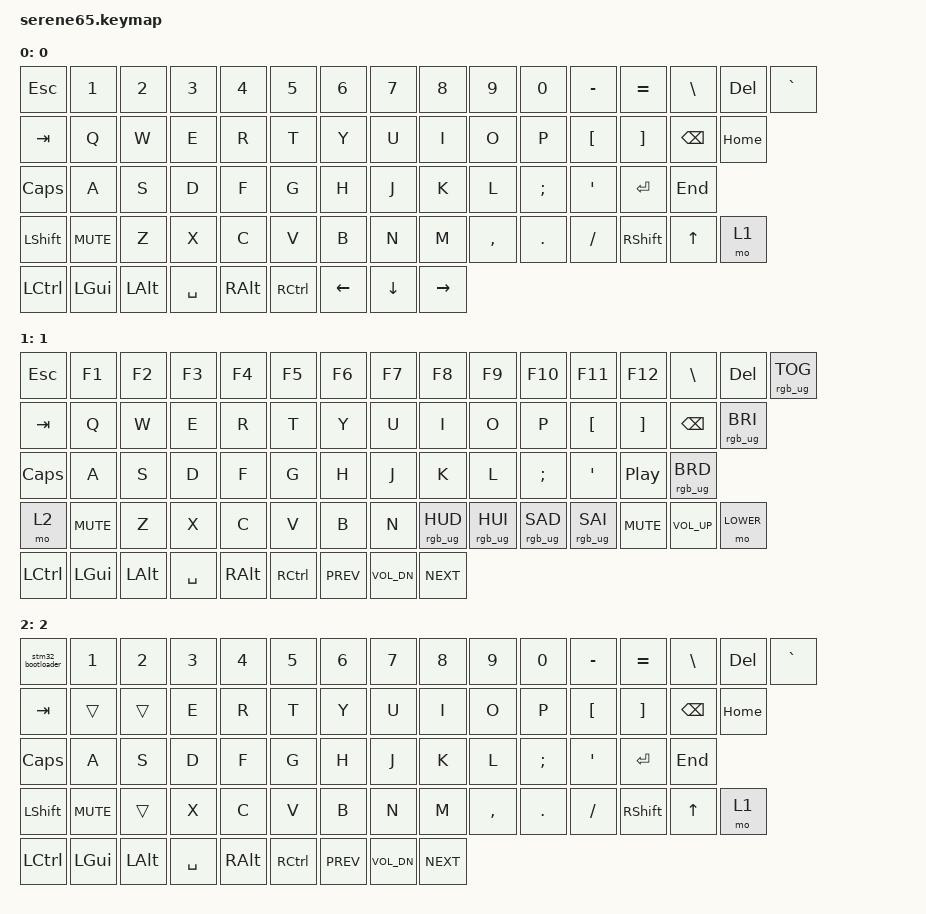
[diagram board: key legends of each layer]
/*
 * Copyright (c) 2020 The ZMK Contributors
 *
 * SPDX-License-Identifier: MIT
 */

#include <behaviors.dtsi>
#include <dt-bindings/zmk/keys.h>
#include <dt-bindings/zmk/rgb.h>

// Define a custom behavior for entering the STM32 bootloader
/ {
    behaviors {
        stm32_bootloader: stm32_bootloader {
            compatible = "zmk,behavior-reset";
            label = "STM32_BOOTLOADER";
            #binding-cells = <0>;
            type = <1>;  // 1 = RESET_BOOTLOADER
        };
    };
};

#define DEFAULT 0
#define LOWER   1
#define RAISE   2

/*&encoder {
    status = "okay";
};*/

/ {
    keymap {
        compatible = "zmk,keymap";

        0 {
            bindings = <
                &kp ESC   &kp N1      &kp N2  &kp N3    &kp N4   &kp N5    &kp N6   &kp N7   &kp N8    &kp N9    &kp N0   &kp MINUS  &kp EQUAL  &kp BSLH  &kp DEL    &kp GRAVE
                &kp TAB   &kp Q       &kp W   &kp E     &kp R    &kp T     &kp Y    &kp U    &kp I     &kp O     &kp P    &kp LBKT   &kp RBKT   &kp BSPC  &kp HOME
                &kp CAPS  &kp A       &kp S   &kp D     &kp F    &kp G     &kp H    &kp J    &kp K     &kp L     &kp SEMI &kp SQT    &kp ENTER  &kp END  
                &kp LSHFT &kp K_MUTE  &kp Z   &kp X     &kp C    &kp V     &kp B    &kp N    &kp M     &kp COMMA &kp DOT  &kp SLASH  &kp RSHFT  &kp UP    &mo 1     
                &kp LCTL  &kp LGUI   &kp LALT &kp SPACE &kp RALT &kp RCTRL &kp LEFT &kp DOWN &kp RIGHT   
            >;
            /*sensor-bindings = <&inc_dec_kp C_VOL_DN C_VOL_UP>;*/
        };

        1 {
            bindings = <
                &kp ESC   &kp F1     &kp F2   &kp F3    &kp F4   &kp F5    &kp F6     &kp F7       &kp F8          &kp F9          &kp F10         &kp F11         &kp F12    &kp BSLH        &kp DEL         &rgb_ug RGB_TOG 
                &kp TAB   &kp Q      &kp W    &kp E     &kp R    &kp T     &kp Y      &kp U        &kp I           &kp O           &kp P           &kp LBKT        &kp RBKT   &kp BSPC        &rgb_ug RGB_BRI   
                &kp CAPS  &kp A      &kp S    &kp D     &kp F    &kp G     &kp H      &kp J        &kp K           &kp L           &kp SEMI        &kp SQT         &kp C_PP   &rgb_ug RGB_BRD 
                &mo 2     &kp K_MUTE &kp Z    &kp X     &kp C    &kp V     &kp B      &kp N        &rgb_ug RGB_HUD &rgb_ug RGB_HUI &rgb_ug RGB_SAD &rgb_ug RGB_SAI &kp C_MUTE &kp C_VOL_UP    &mo LOWER       
                &kp LCTL  &kp LGUI   &kp LALT &kp SPACE &kp RALT &kp RCTRL &kp C_PREV &kp C_VOL_DN &kp C_NEXT  
            >;
        };
        
        2 {
            bindings = <
                &stm32_bootloader &kp N1     &kp N2     &kp N3    &kp N4   &kp N5    &kp N6     &kp N7       &kp N8    &kp N9    &kp N0   &kp MINUS &kp EQUAL &kp BSLH   &kp DEL      &kp GRAVE
                &kp TAB     &trans     &trans     &kp E     &kp R    &kp T     &kp Y      &kp U        &kp I     &kp O     &kp P    &kp LBKT  &kp RBKT  &kp BSPC   &kp HOME   
                &kp CAPS    &kp A      &kp S      &kp D     &kp F    &kp G     &kp H      &kp J        &kp K     &kp L     &kp SEMI &kp SQT   &kp ENTER &kp END
                &kp LSHFT   &kp K_MUTE &trans     &kp X     &kp C    &kp V     &kp B      &kp N        &kp M     &kp COMMA &kp DOT  &kp SLASH &kp RSHFT &kp UP     &mo 1       
                &kp LCTL    &kp LGUI   &kp LALT   &kp SPACE &kp RALT &kp RCTRL &kp C_PREV &kp C_VOL_DN &kp C_NEXT  
            >;
        };
    };
};

